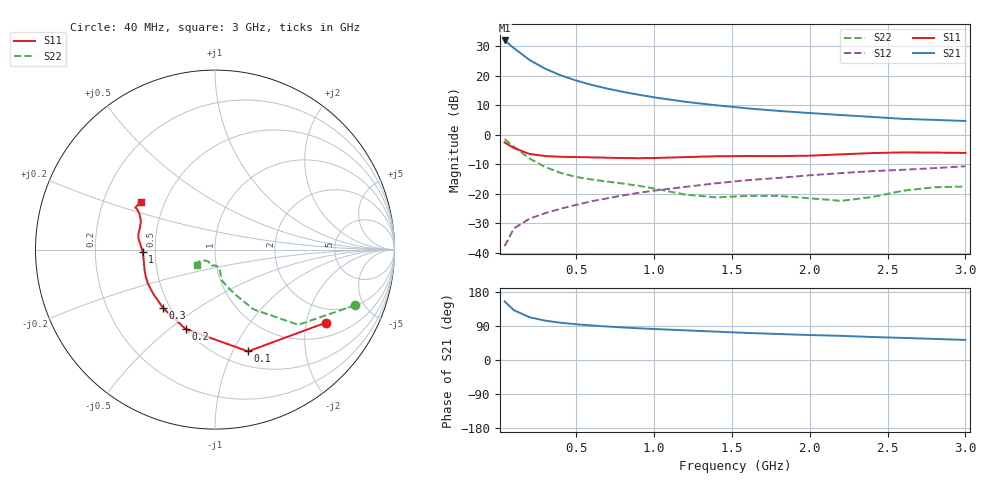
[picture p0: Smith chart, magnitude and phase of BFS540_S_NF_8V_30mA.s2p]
! Filename:  BFS540J.S2P  Version:  4.0
! Philips part #: BFS540  Date: Jun 1994
! Bias condition: Vce=8V, Ic=30mA
#  MHz  S  MA  R  50
! Freq  S11  S21  S12  S22  !GUM [dB]
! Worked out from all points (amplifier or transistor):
!   21 points, 40 MHz to 3 GHz, reference 50 ohm
!   highest |S21| = 31.9 dB at 40 MHz (marker M1)
!   |S21| within 3 dB of that: start of sweep to 109.9 MHz
!   unconditionally stable (mu >= 1): 692.4 MHz to end of sweep
!   at 300 MHz: K = 0.79, MSG = 24.5 dB, |S12| = -26.6 dB
!   at 1 GHz: K = 1.06, MAG = 14.3 dB, |S12| = -18.9 dB
!   at 3 GHz: K = 1.02, MAG = 6.8 dB, |S12| = -10.7 dB
!   lowest NFmin = 1.45 dB at 500 MHz
!   S11 on the Smith chart (normalised r, x): 40 MHz: 1.45, -2.60; 100 MHz: 0.65, -1.15; 200 MHz: 0.50, -0.57; 300 MHz: 0.46, -0.37; 1 GHz: 0.43, -0.02; 3 GHz: 0.37, +0.26
40  0.739 -33.5  39.37 154.4  0.013 73.4  0.841 -21.6
100  0.596 -72.0  29.17 131.4  0.026 61.2  0.625 -42.1
200  0.472 -110.3  18.42 112.8  0.038 56.9  0.396 -57.2
300  0.436 -131.4  13.13 103.9  0.047 58.5  0.284 -64.8
400  0.423 -144.6  10.12 98.3  0.056 60.8  0.226 -70.6
500  0.419 -152.8  8.246 94.3  0.065 62.9  0.193 -74.8
600  0.414 -159.0  6.963 91.1  0.075 64.6  0.174 -77.4
700  0.408 -164.3  6.028 88.3  0.084 66.1  0.161 -78.3
800  0.403 -169.0  5.315 85.9  0.094 67.2  0.149 -77.6
900  0.401 -173.5  4.753 83.7  0.104 67.8  0.137 -77.0
1000  0.403 -177.9  4.293 81.8  0.113 68.6  0.123 -76.6
1200  0.418 175.5  3.61 78.3  0.131 69.4  0.097 -80.7
1400  0.432 171.5  3.149 74.8  0.151 70.2  0.087 -91.5
1600  0.436 168.2  2.792 71.4  0.17 69.4  0.092 -101.3
1800  0.435 164.3  2.531 68.6  0.186 69.6  0.092 -104.1
2000  0.442 159.1  2.326 65.9  0.206 69.3  0.084 -106.8
2200  0.465 154.7  2.153 63.8  0.224 69.4  0.076 -120.0
2400  0.489 152.6  2.002 60.7  0.242 68.9  0.088 -137.5
2600  0.502 152.2  1.854 58.3  0.255 67.7  0.113 -143.5
2800  0.498 150.7  1.783 55.7  0.272 67.4  0.129 -140.3
3000  0.492 147.0  1.708 52.9  0.292 66.6  0.133 -139.2
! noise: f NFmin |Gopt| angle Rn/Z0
500  1.45  0.133  68  0.2
900  1.7  0.191  122  0.19
2000  2.4  0.405  -166  0.14
